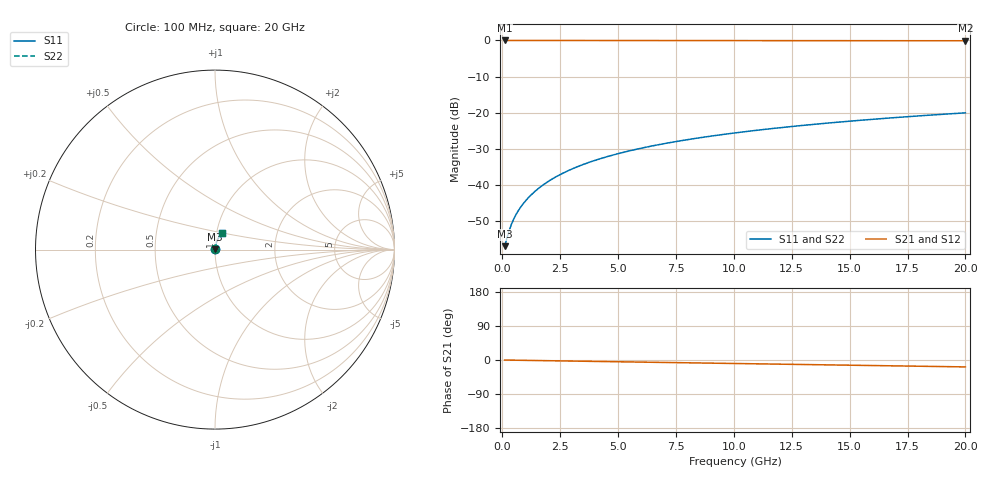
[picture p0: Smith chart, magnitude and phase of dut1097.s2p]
! Touchstone file exported from HFSS 2026.1.0
!  File:  C:/ffzhzh/LocalFiles/Ansys_Project_Files/temp_train_BSMRDL_1097_1783174705_22436.aedt
!  Generated:  10:19:35 PM Jul  4, 2026
!  Design:  BSMRDL
!  Project:  temp_train_BSMRDL_1097_1783174705_22436
! Variables:
!  h_bsmrdl = 3.58um
!  h_ox = 20um
!  h_rdl = 5um
!  h_sub = 80um
!  h_tmrdl = 5um
!  h_tsv = 80um
!  h_via = 3um
!  l_bsmrdl = 282.56um
!  l_sub = 682.56um
!  l_tmrdl = 200um
!  m_sub = 200um
!  pitch = 41.05um
!  r_tsv = 6um
!  s_tmrdl = 10um
!  w_bsmrdl = 29.36um
!  w_sub = 500um
!  w_tmrdl = 12um
!  x_tsv_center1 = 206um
!  x_tsv_center2 = 517.92um
!  x_tsv_center3 = 729.92um
!  x_tsv_center4 = 1041.84um
!  x_tsv_center5 = 1253.84um
!  x_tsv_center6 = 1565.76um
# GHz S MA R 50.000000
! Terminal data exported
! Port[1] = BSM_RDL1_1_T1
! Port[2] = BSM_RDL1_1_T2
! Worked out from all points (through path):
!   200 points, 100 MHz to 20 GHz, reference 50 ohm
!   highest |S21| = -0.01 dB at 100 MHz (marker M1); lowest = -0.1 dB at 20 GHz (marker M2)
!   group delay of S21, straight-line fit = 2.53 ps
!   lowest |S11| = -56.9 dB at 100 MHz (marker M3), VSWR 1.00, Z = 50.1 + j0.0723 ohm
!   |S11| at or under -10 dB: start of sweep to end of sweep
!   |S22| runs from -56.9 to -20.0 dB; largest |S21 - S12| = 5.2e-15
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0.1  0.001426 30.4  0.9988 -0.1  0.9988 -0.1  0.001426 30.4
! Gamma 0 0 0 0
! Port Impedance 50 0 50 0
0.3  0.002359 55.1  0.9985 -0.3  0.9985 -0.3  0.002362 55.2
0.4  0.00289 60.3  0.9984 -0.4  0.9984 -0.4  0.002894 60.3
0.5  0.003419 63.7  0.9984 -0.5  0.9984 -0.5  0.003422 63.7
0.6  0.003941 66.3  0.9983 -0.6  0.9983 -0.6  0.003945 66.3
0.8  0.004978 69.9  0.9983 -0.8  0.9983 -0.8  0.00498 69.9
1  0.006015 72.4  0.9982 -0.9  0.9982 -0.9  0.006016 72.4
1.2  0.007058 74.3  0.9982 -1.1  0.9982 -1.1  0.007059 74.3
1.4  0.008108 75.6  0.9981 -1.3  0.9981 -1.3  0.008108 75.6
1.7  0.009693 77.1  0.9981 -1.6  0.9981 -1.6  0.009694 77.1
2.2  0.01235 78.6  0.9979 -2.1  0.9979 -2.1  0.01235 78.6
2.8  0.01555 79.4  0.9977 -2.6  0.9977 -2.6  0.01555 79.4
3.5  0.01927 79.7  0.9975 -3.3  0.9975 -3.3  0.01927 79.7
4.2  0.02296 79.7  0.9972 -3.9  0.9972 -3.9  0.02296 79.7
5  0.02714 79.4  0.9968 -4.7  0.9968 -4.7  0.02714 79.4
5.9  0.03178 78.9  0.9964 -5.5  0.9964 -5.5  0.03178 78.9
6.8  0.03638 78.3  0.9959 -6.3  0.9959 -6.3  0.03638 78.3
8.3  0.04392 77.2  0.9952 -7.7  0.9952 -7.7  0.04392 77.2
10.1  0.05281 75.9  0.9942 -9.3  0.9942 -9.3  0.05281 75.9
13.4  0.06878 73.4  0.9925 -12.3  0.9925 -12.3  0.06878 73.4
16.7  0.08439 70.8  0.9906 -15.3  0.9906 -15.3  0.08439 70.8
20  0.09963 68.1  0.9886 -18.2  0.9886 -18.2  0.09962 68.1
